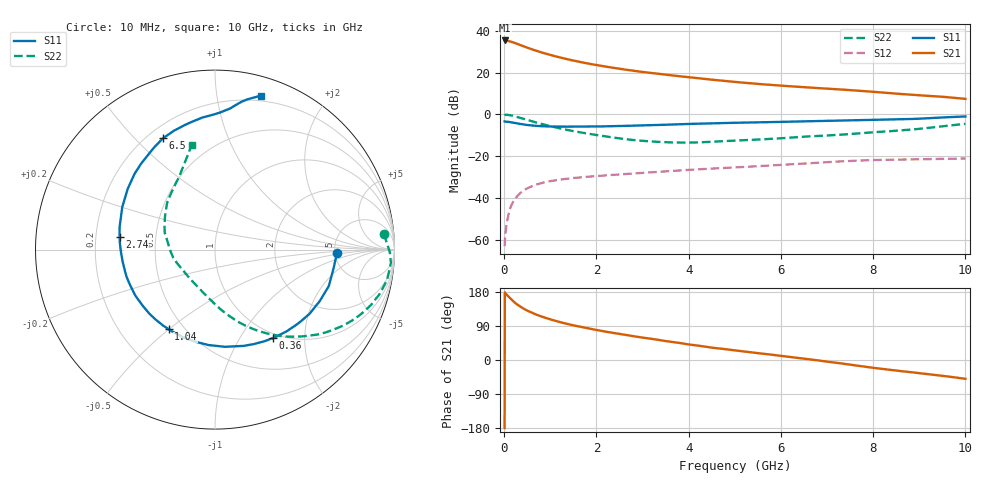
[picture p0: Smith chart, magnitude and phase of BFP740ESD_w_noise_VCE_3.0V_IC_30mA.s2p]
! Infineon Technologies  Discrete & RF Semiconductors
! BFP740ESD
! VCE =  3.0 V,  IC =  30 mA
! Common Emitter S-Parameters:  Jan 2016
# GHz  S  MA  R  50
!  f  S11  S21  S12  S22
! GHz  MAG  ANG  MAG  ANG  MAG  ANG  MAG  ANG
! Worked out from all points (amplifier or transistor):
!   233 points, 10 MHz to 10 GHz, reference 50 ohm
!   highest |S21| = 35.4 dB at 10 MHz (marker M1)
!   |S21| within 3 dB of that: start of sweep to 445.7 MHz
!   unconditionally stable (mu >= 1): 4.213 GHz to 6.843 GHz
!   at 200 MHz: K = 0.19, MSG = 38.1 dB, |S12| = -41.6 dB
!   at 1.74 GHz: K = 0.68, MSG = 27.4 dB, |S12| = -30.0 dB
!   at 10 GHz: K = 0.72, MSG = 14.3 dB, |S12| = -21.1 dB
!   lowest NFmin = 0.96 dB at 450 MHz
!   S11 on the Smith chart (normalised r, x): 10 MHz: 5.23, -0.37; 360 MHz: 0.93, -1.41; 1.04 GHz: 0.41, -0.50; 2.74 GHz: 0.30, +0.06; 6.5 GHz: 0.26, +0.60; 10 GHz: 0.16, +1.33
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0.01  0.6805 -1.6  59.12 -179.7  0.0007 96.3  0.9451 5.3
0.02  0.6758 -3.5  58.32 177.1  0.0011 95.8  0.9744 -0.9
0.1  0.6657 -17.8  57.28 166.7  0.0043 82.8  0.9734 -10.0
0.15  0.6503 -26.2  55.4 160.3  0.0064 78.2  0.9502 -15.1
0.2  0.6366 -34.2  53.18 154.7  0.0083 74.5  0.9219 -19.6
0.26  0.6166 -43.0  50.1 148.5  0.0103 70.7  0.884 -24.5
0.36  0.5891 -56.7  45.49 140.1  0.0134 65.3  0.8207 -31.6
0.5  0.5598 -73.4  39.76 130.4  0.017 59.3  0.7388 -39.9
0.6  0.5445 -84.0  36.34 124.6  0.0191 55.8  0.6862 -44.8
0.7  0.5332 -93.7  33.41 119.6  0.021 52.7  0.6399 -49.4
0.9  0.5193 -110.3  28.61 110.9  0.0241 47.8  0.5599 -57.2
1.04  0.5129 -120.3  25.9 105.8  0.0257 45.1  0.512 -62.1
1.32  0.5104 -137.0  21.64 96.5  0.0285 41.2  0.4359 -70.5
1.68  0.512 -153.6  17.76 86.8  0.0313 38.0  0.3665 -79.5
2.2  0.5189 -172.2  13.97 74.8  0.0347 35.5  0.2974 -91.4
2.74  0.5362 172.5  11.37 64.0  0.0381 33.8  0.2477 -105.5
3.4  0.5625 157.4  9.22 52.0  0.0426 32.0  0.2187 -123.9
5.1  0.634 129.6  5.871 23.9  0.0545 25.9  0.2395 -171.6
6.5  0.6844 115.1  4.498 3.5  0.0668 19.8  0.2945 161.8
6.8  0.6934 111.4  4.28 -1.0  0.0699 17.8  0.3048 157.1
8.4  0.7532 90.4  3.209 -26.4  0.0822 3.6  0.3995 127.6
10  0.8944 73.4  2.358 -49.6  0.0881 -8.9  0.5949 102.7
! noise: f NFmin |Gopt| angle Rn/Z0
0.45  0.96  0.14  -174  0.18
0.9  1.01  0.16  -162  0.09
1.9  1.03  0.19  -150  0.11
2.4  1.09  0.22  -136  0.12
5.5  1.24  0.37  -113  0.14
10  1.81  0.58  -83  0.65
